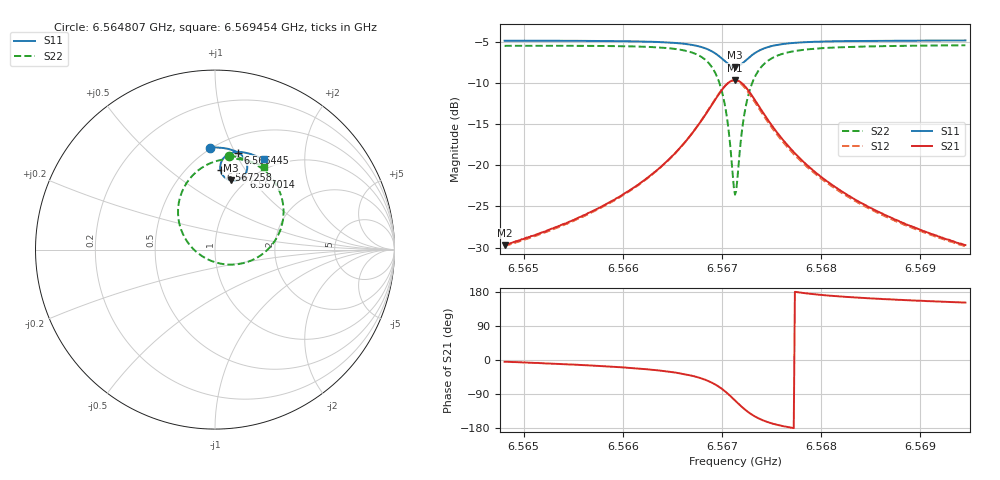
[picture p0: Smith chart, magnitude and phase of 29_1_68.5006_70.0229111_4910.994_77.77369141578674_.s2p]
#  HZ  S  RI  R  50.00
! Rohde & Schwarz Vector Network Analyzer
! Rohde-Schwarz,ZNB20-2Port,1311601062101988,3.16
! Created: UTC 3/20/2024, 4:49:50 PM
! freq[Hz]  re:S11  im:S11  re:S21  im:S21  re:S12  im:S12  re:S22  im:S22
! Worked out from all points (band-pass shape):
!   401 points, 6.564807 GHz to 6.569454 GHz, reference 50 ohm
!   highest |S21| = -9.67 dB at 6.567131 GHz (marker M1); lowest = -29.7 dB at 6.564807 GHz (marker M2)
!   |S21| within 3 dB of the highest: 6.566897 GHz to 6.567362 GHz (465.1 kHz wide, 0.00708 % of centre)
!   lowest |S11| = -8.1 dB at 6.567131 GHz (marker M3), VSWR 2.30, Z = 43 + j39.2 ohm
!   |S11| at or under -10 dB: nowhere
!   |S22| runs from -23.6 to -5.4 dB; largest |S21 - S12| = 0.017
!   S11 on the Smith chart (normalised r, x): 6.564807 GHz: 0.49, +0.83; 6.566445 GHz: 0.66, +1.03; 6.567014 GHz: 0.93, +0.93; 6.567258 GHz: 0.71, +0.78; 6.569454 GHz: 0.86, +1.28
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6.5648071e9  -0.0265 0.5688  0.0327 -0.00262  0.0322 -0.00312  0.0785 0.5239
6.5655855e9  0.0397 0.5665  0.0477 -0.0112  0.0471 -0.0119  0.1595 0.5051
6.5660037e9  0.0792 0.5596  0.0627 -0.0226  0.0618 -0.0232  0.2157 0.4807
6.5663638e9  0.1184 0.5461  0.0847 -0.0444  0.0836 -0.0454  0.2808 0.4354
6.5664452e9  0.1283 0.5407  0.0916 -0.0532  0.0904 -0.0543  0.299 0.4178
6.5666775e9  0.1592 0.5152  0.1147 -0.0976  0.1129 -0.0998  0.3567 0.3308
6.5668402e9  0.1781 0.4772  0.1234 -0.1648  0.1201 -0.1688  0.3818 0.2007
6.5669447e9  0.1764 0.4367  0.1018 -0.2364  0.0947 -0.2414  0.3433 0.0648
6.5670144e9  0.1578 0.4055  0.0544 -0.2893  0.0429 -0.2932  0.2533 -0.0329
6.5670493e9  0.1408 0.3925  0.017 -0.3097  0.00286 -0.3116  0.1824 -0.0681
6.5671074e9  0.1031 0.383  -0.0616 -0.3212  -0.0775 -0.3164  0.0382 -0.0795
6.5671306e9  0.0868 0.3851  -0.0946 -0.3146  -0.1099 -0.3069  -0.0203 -0.0632
6.5671539e9  0.0714 0.3905  -0.1256 -0.3018  -0.1395 -0.2915  -0.0734 -0.0355
6.5672119e9  0.0421 0.4161  -0.1845 -0.249  -0.193 -0.2345  -0.1689 0.067
6.5672584e9  0.0311 0.4417  -0.2084 -0.1984  -0.2121 -0.1839  -0.2016 0.159
6.5673514e9  0.034 0.4861  -0.2099 -0.1127  -0.2077 -0.1015  -0.1889 0.3087
6.5674908e9  0.0615 0.5228  -0.1733 -0.0418  -0.1693 -0.0356  -0.1099 0.4274
6.5676534e9  0.0934 0.539  -0.1334 -0.00796  -0.13 -0.00488  -0.0274 0.4809
6.567909e9  0.1323 0.5441  -0.0937 0.0096  -0.0913 0.011  0.06 0.504
6.568304e9  0.1767 0.5385  -0.0619 0.0158  -0.0604 0.0164  0.142 0.5026
6.5686874e9  0.2119 0.5283  -0.0457 0.0165  -0.0447 0.0171  0.1948 0.4911
6.5694542e9  0.2716 0.5024  -0.0289 0.0157  -0.0282 0.0159  0.2706 0.4605
